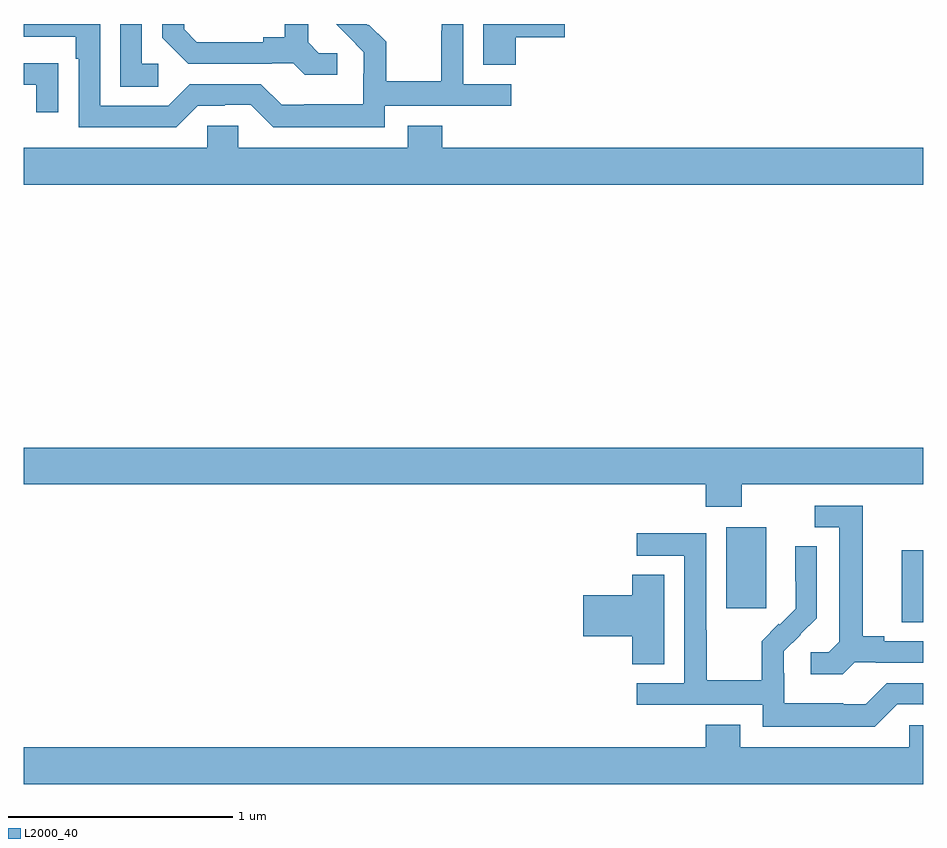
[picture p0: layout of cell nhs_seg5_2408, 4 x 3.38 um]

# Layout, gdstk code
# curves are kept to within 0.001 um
import gdstk
lib = gdstk.Library(unit=1e-6, precision=1e-09)
def R(c, l, rs):  # rectangles x0, y0, x1, y1
    for r in rs: c.add(gdstk.rectangle(r[:2], r[2:], *l))
def P(c, l, *ps):  # polygons
    for p in ps: c.add(gdstk.Polygon(p, *l))
L2000_40 = (2000, 40)

nhs_seg5_2408 = lib.new_cell('nhs_seg5_2408')
R(nhs_seg5_2408, L2000_40, [(254.903,864.139,255,864.459), (254.123,864.201,254.302,864.562)])
P(nhs_seg5_2408, L2000_40, [(252.394,866.67),(252.312,866.67),(252.265,866.717),(252.265,866.799),(252.161,866.799),(252.161,866.741),(252.065,866.741),(252.065,866.718),(251.77,866.718),(251.713,866.775),(251.713,866.799),(251.616,866.799),(251.616,866.738),(251.732,866.622),(252.104,866.622),(252.104,866.625),(252.198,866.625),(252.25,866.573),(252.394,866.573)],
  [(251.599,866.622),(251.526,866.622),(251.526,866.799),(251.43,866.799),(251.43,866.521),(251.599,866.521)],
  [(252.606,866.436),(253.168,866.436),(253.168,866.532),(252.954,866.532),(252.954,866.799),(252.858,866.799),(252.858,866.768),(252.856,866.768),(252.856,866.545),(252.611,866.545),(252.611,866.719),(252.534,866.796),(252.531,866.793),(252.525,866.799),(252.389,866.799),(252.512,866.674),(252.512,866.577),(252.51,866.577),(252.51,866.443),(252.247,866.443),(252.247,866.439),(252.147,866.439),(252.054,866.532),(251.739,866.532),(251.643,866.436),(251.34,866.436),(251.34,866.799),(251,866.799),(251,866.742),(251.231,866.742),(251.231,866.645),(251.244,866.645),(251.244,866.34),(251.679,866.34),(251.775,866.436),(251.894,866.436),(251.894,866.439),(252.009,866.439),(252.109,866.339),(252.606,866.339)],
  [(253.187,866.741),(253.405,866.741),(253.405,866.799),(253.043,866.799),(253.043,866.617),(253.187,866.617)],
  [(251.153,866.624),(251.051,866.624),(251.051,866.625),(251,866.625),(251,866.529),(251.057,866.529),(251.057,866.406),(251.153,866.406)],
  [(255,866.248),(252.86,866.248),(252.86,866.347),(252.707,866.347),(252.707,866.248),(251.955,866.248),(251.955,866.346),(251.817,866.346),(251.817,866.248),(251,866.248),(251,866.084),(255,866.084)],
  [(254.193,864.752),(255,864.752),(255,864.916),(251,864.916),(251,864.752),(254.033,864.752),(254.033,864.653),(254.193,864.653)],
  [(254.694,863.961),(254.788,863.961),(254.788,863.958),(255,863.958),(255,864.054),(254.827,864.054),(254.827,864.077),(254.731,864.077),(254.731,864.657),(254.517,864.657),(254.517,864.561),(254.627,864.561),(254.627,864.053),(254.58,864.006),(254.499,864.006),(254.499,863.909),(254.642,863.909)],
  [(254.883,863.775),(254.999,863.775),(255,863.772),(255,863.868),(254.838,863.868),(254.745,863.775),(254.645,863.775),(254.645,863.779),(254.382,863.779),(254.382,863.913),(254.38,863.913),(254.38,864.01),(254.526,864.158),(254.526,864.476),(254.43,864.476),(254.43,864.322),(254.432,864.322),(254.432,864.2),(254.361,864.129),(254.358,864.132),(254.281,864.055),(254.281,863.881),(254.037,863.881),(254.037,864.104),(254.034,864.104),(254.034,864.534),(253.725,864.534),(253.725,864.435),(253.938,864.435),(253.938,863.868),(253.725,863.868),(253.725,863.772),(254.286,863.772),(254.286,863.675),(254.783,863.675)],
  [(253.849,864.35),(253.706,864.35),(253.706,864.26),(253.488,864.26),(253.488,864.077),(253.706,864.077),(253.706,863.953),(253.849,863.953)],
  [(255,863.682),(254.937,863.682),(254.937,863.584),(254.185,863.584),(254.185,863.683),(254.033,863.683),(254.033,863.584),(251,863.584),(251,863.42),(255,863.42)])

lib.write_gds('nhs_seg5_2408.gds')
